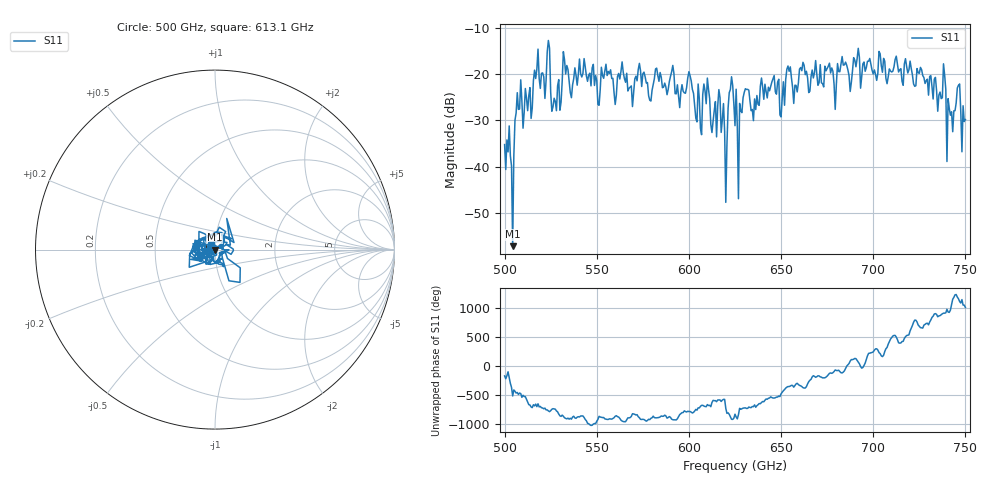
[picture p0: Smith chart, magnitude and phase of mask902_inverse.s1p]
!Created with skrf (http://scikit-rf.org).
# GHz S MA R 50.0
!freq magS11 angS11
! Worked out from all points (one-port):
!   401 points, 500 GHz to 750 GHz, reference 50 ohm
!   lowest |S11| = -57.1 dB at 504.4 GHz (marker M1), VSWR 1.00, Z = 49.9 - j0.0577 ohm
!   |S11| at or under -10 dB: start of sweep to end of sweep
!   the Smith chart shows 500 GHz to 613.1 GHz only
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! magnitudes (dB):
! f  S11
! 500 GHz  -35.2
! 504.4 GHz  -57.1
! 507.5 GHz  -27.6
! 513.8 GHz  -22.9
! 516.9 GHz  -21.0
! 523.8 GHz  -12.8
! 526.9 GHz  -25.2
! 531.2 GHz  -21.6
! 562.5 GHz  -21.1
! 579.4 GHz  -25.8
! 590.6 GHz  -19.5
! 593.8 GHz  -22.3
! 600.6 GHz  -20.4
! 605.6 GHz  -25.3
! 609.4 GHz  -26.4
! 613.8 GHz  -27.9
! 617.5 GHz  -32.6
! 619.4 GHz  -32.3
! 622.5 GHz  -23.3
! 625 GHz  -31.1
! 627.5 GHz  -26.3
! 631.2 GHz  -23.3
! 635 GHz  -30.1
! 656.2 GHz  -22.9
! 687.5 GHz  -23.8
! 690.6 GHz  -18.4
! 718.8 GHz  -19.8
! 750 GHz  -29.8
